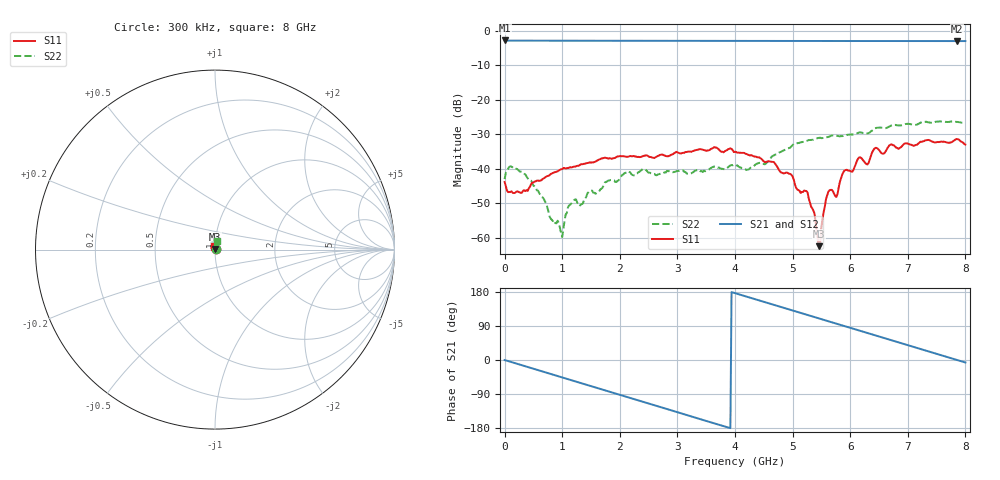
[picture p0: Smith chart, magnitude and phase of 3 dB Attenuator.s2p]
#  HZ  S  DB  R  50.00
! Rohde & Schwarz Vector Network Analyzer
! Rohde-Schwarz,ZNB8-4Port,1311601044101761,1.95
! Created: UTC 2/19/2014, 9:15:01 AM
! freq[Hz]  db:S11  ang:S11  db:S21  ang:S21  db:S12  ang:S12  db:S22  ang:S22
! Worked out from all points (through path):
!   401 points, 300 kHz to 8 GHz, reference 50 ohm
!   highest |S21| = -2.76 dB at 300 kHz (marker M1); lowest = -3.0 dB at 7.86 GHz (marker M2)
!   group delay of S21, straight-line fit = 127 ps
!   lowest |S11| = -62.4 dB at 5.46 GHz (marker M3), VSWR 1.00, Z = 50 + j0.074 ohm
!   |S11| at or under -10 dB: start of sweep to end of sweep
!   |S22| runs from -59.8 to -26.2 dB; largest |S21 - S12| = 0.012
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300000  -43.83 38.1  -2.76 -0.2  -2.76 -0.2  -42.99 21.9
1.002962e8  -46.76 -8.9  -2.82 -4.6  -2.83 -4.6  -39.27 -0.0
3.402872e8  -46.22 -28.7  -2.82 -15.7  -2.84 -15.6  -41.38 -17.4
9.802632e8  -40.12 -77.9  -2.84 -45.1  -2.86 -45.0  -58.60 -125.7
1.140257e9  -39.55 -88.2  -2.84 -52.4  -2.86 -52.2  -50.41 -167.0
1.34025e9  -38.69 -100.9  -2.85 -61.6  -2.87 -61.4  -50.22 -174.5
1.480244e9  -38.11 -113.8  -2.85 -68.1  -2.88 -67.8  -46.37 -170.6
2.12022e9  -36.52 -150.9  -2.86 -97.4  -2.88 -97.0  -41.05 -150.0
2.6802e9  -36.13 -179.9  -2.88 -123.1  -2.89 -122.6  -41.55 -169.3
4.00015e9  -35.04 116.0  -2.90 176.5  -2.90 177.1  -38.77 109.2
4.220142e9  -35.88 106.0  -2.91 166.4  -2.90 166.9  -40.26 110.0
4.960114e9  -41.50 67.3  -2.91 132.6  -2.91 133.2  -33.84 136.2
5.100109e9  -46.19 65.9  -2.92 126.3  -2.91 126.7  -32.53 138.8
5.240104e9  -46.44 70.7  -2.91 119.8  -2.91 120.4  -31.97 137.1
5.3401e9  -51.41 109.5  -2.91 115.2  -2.91 115.8  -31.57 138.0
5.460095e9  -62.45 101.0  -2.90 109.7  -2.90 110.3  -31.04 134.4
5.620089e9  -46.65 177.9  -2.92 102.3  -2.91 103.0  -30.75 135.5
5.760084e9  -48.17 -178.2  -2.91 95.8  -2.91 96.6  -30.39 134.5
5.900079e9  -40.50 169.7  -2.93 89.5  -2.92 90.1  -30.36 136.0
6.68005e9  -33.17 147.3  -2.93 53.6  -2.93 54.5  -27.70 122.3
7.860005e9  -31.41 115.4  -2.96 -0.3  -2.95 0.3  -26.41 80.8
8e9  -32.95 110.9  -2.94 -6.6  -2.95 -6.1  -26.61 76.8
